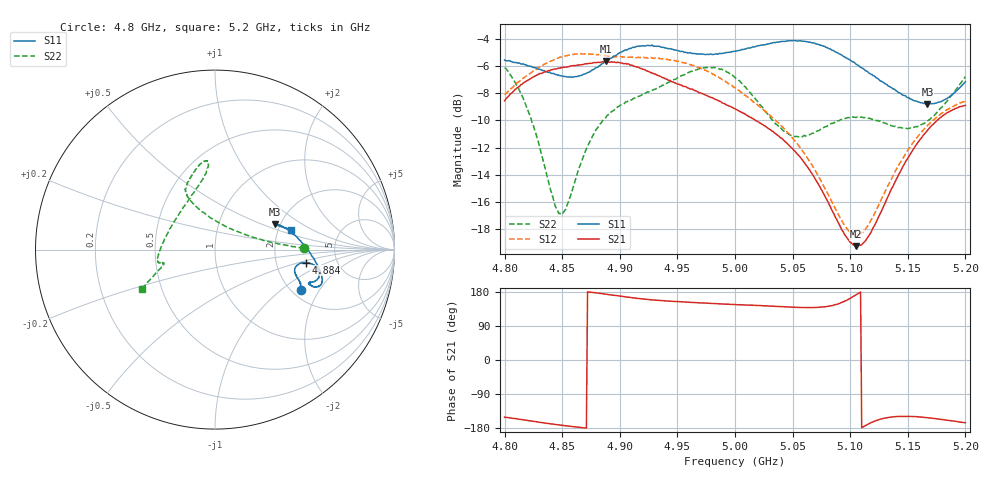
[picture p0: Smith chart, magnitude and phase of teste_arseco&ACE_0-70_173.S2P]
! Network Analyzer HP8722D
! Hewlett-Packard
! Data name: Linha & Wilkinson
! Saver's name: Rodrigo Anjos
! Comments: Teste da utilização de aquisição
! continua pelo VNA HP8722D
! Time and date: 8/5/2025 14:12
!  Frequency  S11  S21  S12  S22
# HZ  S  MA R 50
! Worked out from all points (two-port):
!   401 points, 4.8 GHz to 5.2 GHz, reference 50 ohm
!   highest |S21| = -5.63 dB at 4.888 GHz (marker M1); lowest = -19.3 dB at 5.105 GHz (marker M2)
!   |S21| within 3 dB of the highest: start of sweep to 4.988 GHz
!   lowest |S11| = -8.8 dB at 5.167 GHz (marker M3), VSWR 2.14, Z = 94 + j30.5 ohm
!   |S11| at or under -10 dB: nowhere
!   |S22| runs from -17.0 to -6.1 dB; largest |S21 - S12| = 1.1
!   S11 on the Smith chart (normalised r, x): 4.8 GHz: 2.22, -1.40; 4.884 GHz: 2.95, -0.58; 5.2 GHz: 2.36, +0.65
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4.8e9  0.5283 -25.4  0.374 -151.0  0.3937 8.3  0.496 0.8
4.811e9  0.5161 -22.5  0.418 -155.4  0.4371 6.7  0.4227 2.7
4.821e9  0.5031 -20.8  0.4469 -160.2  0.4683 5.2  0.3379 6.3
4.847e9  0.4654 -16.0  0.494 -171.0  0.5392 1.0  0.1431 56.0
4.853e9  0.4592 -14.9  0.4975 -173.5  0.548 0.1  0.1485 79.3
4.867e9  0.4641 -10.8  0.5085 -178.5  0.5574 -2.0  0.224 109.3
4.884e9  0.51 -8.2  0.5196 175.1  0.55 -3.2  0.3101 116.8
4.888e9  0.5223 -8.0  0.5232 173.5  0.5495 -3.2  0.3246 117.2
4.913e9  0.5886 -11.9  0.5006 163.5  0.5421 -2.3  0.3827 115.2
4.934e9  0.5948 -16.4  0.4625 157.2  0.5378 -3.2  0.4194 109.2
4.973e9  0.5552 -19.4  0.3949 150.1  0.4872 -6.8  0.4955 97.1
5e9  0.5698 -20.4  0.3491 146.4  0.4185 -6.7  0.4555 95.4
5.043e9  0.6194 -18.6  0.2651 140.4  0.2939 1.3  0.2881 130.5
5.067e9  0.612 -14.0  0.2007 138.5  0.2158 8.7  0.2837 165.2
5.095e9  0.5439 -4.0  0.1202 154.7  0.1297 34.9  0.3214 -172.4
5.105e9  0.5111 0.7  0.1085 171.8  0.1192 54.2  0.3242 -169.3
5.116e9  0.4741 6.2  0.1184 -168.8  0.1305 75.5  0.3217 -167.1
5.134e9  0.4223 15.1  0.1693 -151.2  0.1857 94.4  0.305 -166.0
5.152e9  0.3796 21.4  0.2368 -148.9  0.2521 99.8  0.2966 -164.7
5.167e9  0.3638 22.8  0.2899 -152.3  0.3028 100.5  0.3149 -161.7
5.182e9  0.3777 20.7  0.3326 -157.8  0.3417 100.5  0.3628 -157.7
5.2e9  0.4394 14.6  0.3596 -165.6  0.3731 100.9  0.4592 -151.7
